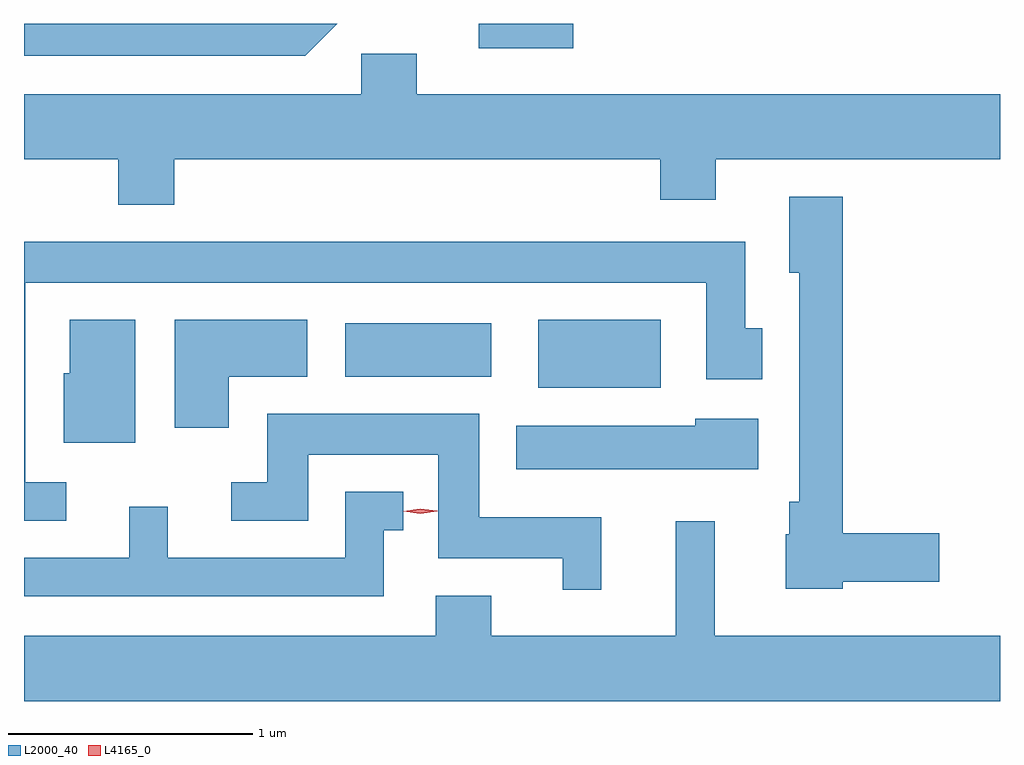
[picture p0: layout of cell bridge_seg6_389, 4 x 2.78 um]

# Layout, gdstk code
import gdstk
lib = gdstk.Library(unit=1e-6, precision=1e-09)
def R(c, l, rs):  # rectangles x0, y0, x1, y1
    for r in rs: c.add(gdstk.rectangle(r[:2], r[2:], *l))
def P(c, l, *ps):  # polygons
    for p in ps: c.add(gdstk.Polygon(p, *l))
L2000_40 = (2000, 40)
L4165_0 = (4165, 0)

bridge_seg6_389 = lib.new_cell('bridge_seg6_389')
R(bridge_seg6_389, L2000_40, [(930.941,1666.761,931.444,1667.039), (930.151,1666.806,930.749,1667.024), (930.698,1668.151,931.084,1668.252)])
P(bridge_seg6_389, L2000_40, [(930.118,1668.252),(928.834,1668.252),(928.834,1668.121),(929.987,1668.121)],
  [(929.449,1667.696),(931.441,1667.696),(931.441,1667.531),(931.669,1667.531),(931.669,1667.696),(932.834,1667.696),(932.834,1667.964),(930.444,1667.964),(930.444,1668.129),(930.216,1668.129),(930.216,1667.964),(928.834,1667.964),(928.834,1667.696),(929.221,1667.696),(929.221,1667.511),(929.449,1667.511)],
  [(932.189,1665.966),(932.584,1665.966),(932.584,1666.164),(932.189,1666.164),(932.189,1667.544),(931.971,1667.544),(931.971,1667.231),(932.011,1667.231),(932.011,1666.294),(931.971,1666.294),(931.971,1666.16),(931.956,1666.16),(931.956,1665.936),(932.189,1665.936)],
  [(929.008,1666.374),(928.839,1666.374),(928.839,1667.191),(931.631,1667.191),(931.631,1666.796),(931.859,1666.796),(931.859,1667.004),(931.789,1667.004),(931.789,1667.359),(928.834,1667.359),(928.834,1666.216),(929.008,1666.216)],
  [(929.674,1666.806),(929.994,1666.806),(929.994,1667.039),(929.451,1667.039),(929.451,1666.596),(929.674,1666.596)],
  [(929.289,1667.039),(929.021,1667.039),(929.021,1666.819),(928.996,1666.819),(928.996,1666.536),(929.289,1666.536)],
  [(931.199,1666.229),(930.699,1666.229),(930.699,1666.654),(929.831,1666.654),(929.831,1666.374),(929.683,1666.374),(929.683,1666.216),(929.999,1666.216),(929.999,1666.486),(930.531,1666.486),(930.531,1666.061),(931.041,1666.061),(931.041,1665.933),(931.199,1665.933)],
  [(931.844,1666.634),(931.586,1666.634),(931.586,1666.604),(930.851,1666.604),(930.851,1666.426),(931.844,1666.426)],
  [(930.309,1666.176),(930.388,1666.176),(930.388,1666.334),(930.151,1666.334),(930.151,1666.064),(929.424,1666.064),(929.424,1666.273),(929.266,1666.273),(929.266,1666.064),(928.834,1666.064),(928.834,1665.906),(930.309,1665.906)],
  [(932.834,1665.744),(931.664,1665.744),(931.664,1666.213),(931.506,1666.213),(931.506,1665.744),(930.749,1665.744),(930.749,1665.909),(930.521,1665.909),(930.521,1665.744),(928.834,1665.744),(928.834,1665.476),(932.834,1665.476)])
P(bridge_seg6_389, L4165_0, [(930.458,1666.245),(930.389,1666.254),(930.389,1666.255),(930.389,1666.255),(930.458,1666.265),(930.528,1666.256),(930.528,1666.256),(930.528,1666.255)])

lib.write_gds('bridge_seg6_389.gds')
